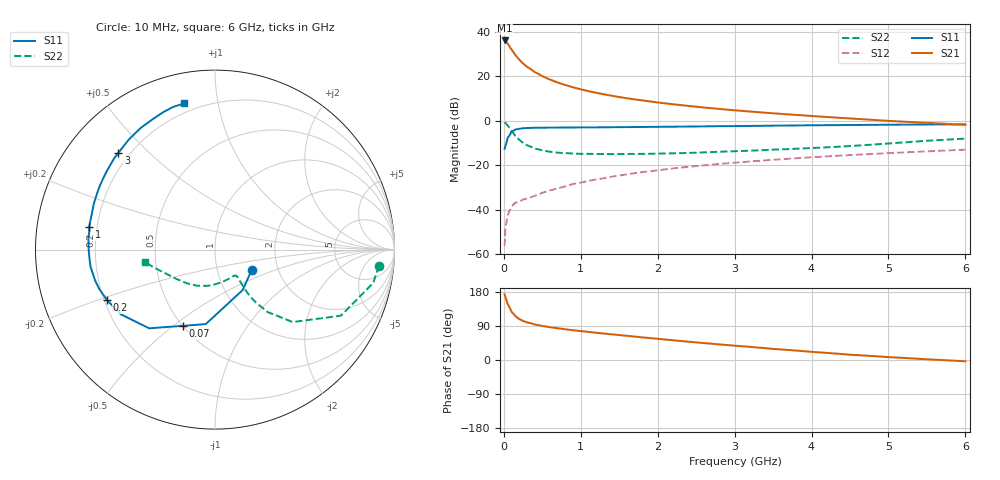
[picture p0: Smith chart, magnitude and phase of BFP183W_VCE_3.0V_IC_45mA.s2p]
! Infineon Technologies  Discrete & RF Semiconductors
! BFP183W
! VCE =  3.0 V,  IC =  45 mA
! Common Emitter S-Parameters:  Jan 2017
# GHz  S  MA  R  50
!  f  S11  S21  S12  S22
! GHz  MAG  ANG  MAG  ANG  MAG  ANG  MAG  ANG
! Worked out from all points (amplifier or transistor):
!   77 points, 10 MHz to 6 GHz, reference 50 ohm
!   highest |S21| = 36.2 dB at 10 MHz (marker M1)
!   |S21| within 3 dB of that: start of sweep to 78.98 MHz
!   unconditionally stable (mu >= 1): 551.2 MHz to 3.605 GHz
!   at 130 MHz: K = 0.43, MSG = 34.1 dB, |S12| = -37.5 dB
!   at 2.2 GHz: K = 1.10, MAG = 12.5 dB, |S12| = -21.4 dB
!   at 6 GHz: K = 0.88, MSG = 5.6 dB, |S12| = -13.0 dB
!   S11 on the Smith chart (normalised r, x): 10 MHz: 1.46, -0.35; 70 MHz: 0.50, -0.54; 200 MHz: 0.21, -0.21; 1 GHz: 0.17, +0.09; 3 GHz: 0.16, +0.41; 6 GHz: 0.15, +0.80
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0.01  0.2341 -29.2  64.78 173.5  0.0015 87.6  0.9181 -5.6
0.02  0.2731 -55.6  63.53 165.8  0.0037 95.9  0.9012 -11.9
0.05  0.4184 -97.1  55.09 147.4  0.0074 64.1  0.792 -27.7
0.07  0.4603 -112.7  48.54 140.7  0.0091 58.9  0.7063 -32.8
0.1  0.5718 -129.9  40.43 127.0  0.0117 53.9  0.5918 -43.0
0.15  0.6371 -145.6  30.41 115.6  0.0144 48.3  0.4562 -49.8
0.2  0.6635 -154.8  23.92 108.1  0.0148 48.7  0.3742 -52.3
0.25  0.6813 -161.2  19.62 103.0  0.017 49.0  0.32 -53.2
0.3  0.6902 -165.8  16.57 99.4  0.0177 50.6  0.2832 -53.0
0.4  0.7 -172.1  12.64 93.8  0.0203 56.2  0.2391 -52.1
0.5  0.7014 -176.5  10.17 89.9  0.0239 56.3  0.2164 -51.3
0.6  0.7039 180.0  8.516 86.6  0.0271 58.3  0.2013 -50.9
0.7  0.7056 177.1  7.306 83.8  0.03 62.4  0.1917 -50.6
1  0.7116 169.7  5.142 76.3  0.0404 64.9  0.1805 -52.9
1.1  0.7128 167.6  4.678 74.2  0.0444 66.6  0.1808 -54.3
1.5  0.7209 160.0  3.438 65.8  0.0586 67.0  0.1785 -61.3
2.1  0.7359 149.1  2.479 54.0  0.0808 65.2  0.1837 -76.6
3  0.7619 135.0  1.728 37.7  0.1141 60.5  0.2068 -102.7
3.1  0.7645 133.5  1.675 36.2  0.1178 59.9  0.2094 -105.5
4.1  0.7961 120.1  1.254 20.1  0.1547 53.2  0.2485 -132.6
5.1  0.8203 109.6  0.978 6.5  0.1905 46.0  0.3178 -157.1
6  0.8326 101.8  0.814 -3.4  0.224 39.2  0.3979 -170.2
